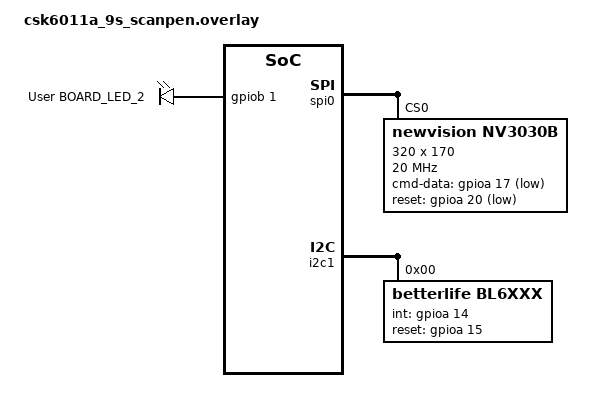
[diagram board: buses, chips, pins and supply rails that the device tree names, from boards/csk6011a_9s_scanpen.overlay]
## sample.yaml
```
sample:
  description: LVGL8 sample application
  name: lvgl8
tests:
  sample.gui.lvgl:
    harness: display
    platform_allow: reel_board mimxrt1050_evk mimxrt1060_evk mimxrt1064_evk
    tags: samples display gui
  sample.display.adafruit_2_8_tft_touch_v2:
    depends_on: arduino_gpio arduino_i2c arduino_spi
    # Default settings end up allocating an ~150KB sized buffer in lvgl.
    # This adds a bit of buffer to that for other data.
    min_ram: 175
    platform_exclude: reel_board reel_board_v2 ubx_evkannab1_nrf52832
    extra_args: SHIELD=adafruit_2_8_tft_touch_v2
    tags: shield
    harness: console
    harness_config:
      fixture: fixture_shield_adafruit_2_8_tft_touch_v2
  sample.display.waveshare_epaper_gdeh0213b1:
    platform_allow: nrf52840dk_nrf52840
    extra_args: SHIELD=waveshare_epaper_gdeh0213b1
    tags: shield
  sample.display.waveshare_epaper_gdeh0213b72:
    platform_allow: nrf52840dk_nrf52840
    extra_args: SHIELD=waveshare_epaper_gdeh0213b72
    tags: shield
  sample.display.waveshare_epaper_gdeh029a1:
    platform_allow: nrf52840dk_nrf52840
    extra_args: SHIELD=waveshare_epaper_gdeh029a1
    tags: shield
  sample.display.lvgl.sdl:
    build_only: true
    platform_allow: native_posix_64
    tags: samples display gui
  sample.display.buydisplay_2_8_tft_touch_arduino:
    platform_allow: nrf52840dk_nrf52840
    extra_args: SHIELD=buydisplay_2_8_tft_touch_arduino
    tags: shield
  sample.display.dummy:
    build_only: true
    platform_allow: native_posix
    extra_configs:
      - CONFIG_DUMMY_DISPLAY=y
      - CONFIG_DUMMY_DISPLAY_DEV_NAME="DISPLAY"
      - CONFIG_KSCAN=n
      - CONFIG_SDL_DISPLAY=n
    tags: samples display gui
```

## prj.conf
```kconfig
CONFIG_HEAP_MEM_POOL_SIZE=16384
CONFIG_MAIN_STACK_SIZE=2048

CONFIG_DISPLAY=y
CONFIG_DISPLAY_LOG_LEVEL_ERR=y

CONFIG_LOG=y
CONFIG_LOG_STRDUP_BUF_COUNT=16

CONFIG_LVGL8=y
CONFIG_LV_USE_LABEL=y
CONFIG_LV_USE_BTN=y


CONFIG_GPIO=y
CONFIG_SPI=y
CONFIG_NV3030B=y
#CONFIG_ST7789V=y

CONFIG_I2C=y
CONFIG_KSCAN_BL6XXX=y
```

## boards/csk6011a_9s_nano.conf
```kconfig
CONFIG_KSCAN=y
CONFIG_LV_Z_POINTER_KSCAN_SWAP_XY=y
CONFIG_LV_Z_POINTER_KSCAN=y
CONFIG_LV_Z_POINTER_KSCAN_DEV_NAME="BL6XXX"

CONFIG_DISPLAY=y
CONFIG_LV_Z_DISPLAY_DEV_NAME="ST7789V"
CONFIG_LV_Z_HOR_RES_MAX=320
CONFIG_LV_Z_VER_RES_MAX=170
CONFIG_LV_DPI_DEF=100
CONFIG_LV_COLOR_DEPTH_16=y
CONFIG_LV_COLOR_16_SWAP=y
```

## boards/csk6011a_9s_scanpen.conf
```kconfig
CONFIG_KSCAN=y
CONFIG_LV_Z_POINTER_KSCAN_SWAP_XY=y
CONFIG_LV_Z_POINTER_KSCAN=y
CONFIG_LV_Z_POINTER_KSCAN_DEV_NAME="BL6XXX"

CONFIG_DISPLAY=y
CONFIG_LV_Z_DISPLAY_DEV_NAME="NV3030B"
#CONFIG_LV_Z_DISPLAY_DEV_NAME="ST7789V"
CONFIG_LV_Z_HOR_RES_MAX=320
CONFIG_LV_Z_VER_RES_MAX=170
CONFIG_LV_DPI_DEF=100
CONFIG_LV_COLOR_DEPTH_16=y
CONFIG_LV_COLOR_16_SWAP=y
```

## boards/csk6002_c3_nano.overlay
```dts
&csk6002_c3_nano_pinctrl{
                pinctrl_i2c0_scl_default: i2c0_scl_default{
                        pinctrls = <&pinmuxa 4 8>;
                };
                
                pinctrl_i2c0_sda_default: i2c0_sda_default{
                        pinctrls = <&pinmuxa 5 8>;
                };    

                pinctrl_spi0_sclk_default: spi0_sclk_default {
                        pinctrls = < &pinmuxa 19 6 >;
                };
                pinctrl_spi0_mosi_default: spi0_mosi_default {
                        pinctrls = < &pinmuxa 18 6 >;
                };
                pinctrl_spi0_miso_default: spi0_miso_default {
                        pinctrls = < &pinmuxa 17 6 >;
                };
                pinctrl_spi0_cs_default: spi0_cs_default {
                        pinctrls = < &pinmuxa 20 6 >;
                }; 
};

&spi0 {
    status = "okay";
    pinctrl-0 = <&pinctrl_spi0_sclk_default &pinctrl_spi0_mosi_default &pinctrl_spi0_miso_default &pinctrl_spi0_cs_default>; 
    pinctrl-names = "default";
    
    display: ili9341@0 {
        compatible = "ilitek,ili9341";
        status = "okay";
        label = "ILI9341";
        reg = <0>;
        display-inversion;
        rotation = <0>;
        pixel-format = <1>;
        reset-gpios = <&gpioa 8 1>;
        cmd-data-gpios = <&gpioa 9 1>;
        spi-max-frequency = <25000000>;
        pwctrla = [ 39 2c 00 34 02  ];
        pwctrlb = [ 00 c1 30  ];
        timctrla = [ 85 00 78  ];
        timctrlb = [ 00 00  ];
        pwseqctrl = [ 64 03 12 81  ];
        pwctrl1 = [ 1d  ];
        pwctrl2 = [ 12  ];
        vmctrl1 = [ 33 3f  ];
        vmctrl2 = [ 92  ];
        frmctr1 = [ 00 12  ];
        disctrl = [ 08 82 27  ];
        enable3g = [ 02  ];
        gamset = [ 01  ];
        pumpratioctrl = [ 10  ];
        pgamctrl = [ 0f 22 1c 1b 08 0f 48 b8 34 05 0c 09 0f 07 00  ];
        ngamctrl = [ 00 23 24 07 10 07 38 47 4b 0A 13 06 30 38 0f  ];
        etmod = [ 06  ];
};
};

&i2c0 {
        status = "okay";
        pinctrl-0 = <&pinctrl_i2c0_scl_default &pinctrl_i2c0_sda_default>; 
        pinctrl-names = "default";
        bl6xxx@0 {
                compatible = "betterlife,bl6xxx";
                reg = <0>;
                label = "BL6XXX";
                status = "okay";
                int-gpios = <&gpioa 16 0>;
                reset-gpios = <&gpioa 15 0>;
        };
};
```

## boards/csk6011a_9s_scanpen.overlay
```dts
/ {

	aliases {
		lcdbacklight0 = &board_led_2;
	};
	leds {
		compatible = "gpio-leds";
		board_led_2: board_led_2 {
				gpios = <&gpiob 1 0>;
				label = "User BOARD_LED_2";
		};
	 };
	
};



&csk6011a_9s_scanpen_pinctrl{
                /* UART alternate function */
                pinctrl_uart0_rx_default: uart0_rx_default{
                        pinctrls = <&pinmuxb 8 2>;
                        // pinctrls = <&pinmuxb 10 2>;

                };
                
                pinctrl_uart0_tx_default: uart0_tx_default{
                        pinctrls = <&pinmuxb 9 2>;
                        // pinctrls = <&pinmuxb 11 2>;

                };
                
                pinctrl_i2c1_scl_default: i2c1_scl_default{
                        pinctrls = <&pinmuxa 13 9>;
                        // pinctrls = <&pinmuxb 2 8>;
                };
                
                pinctrl_i2c1_sda_default: i2c1_sda_default{
                        pinctrls = <&pinmuxa 12 9>;
                        // pinctrls = <&pinmuxb 3 8>;
                };    

                pinctrl_spi0_sclk_default: spi0_sclk_default {
                        pinctrls = < &pinmuxa 19 6 >;
                        // pinctrls = < &pinmuxa 15 6 >;
                };
                pinctrl_spi0_mosi_default: spi0_mosi_default {
                        pinctrls = < &pinmuxa 18 6 >;
                        // pinctrls = < &pinmuxa 10 6 >;
                };
                pinctrl_spi0_miso_default: spi0_miso_default {
                        // pinctrls = < &pinmuxa 17 6 >;
                };
                pinctrl_spi0_cs_default: spi0_cs_default {
                        pinctrls = < &pinmuxa 16 6 >;
                        // pinctrls = < &pinmuxa 12 6 >;
                }; 
};

&spi0 {
        status = "okay";
        pinctrl-0 = <&pinctrl_spi0_sclk_default &pinctrl_spi0_mosi_default &pinctrl_spi0_cs_default>; 
        pinctrl-names = "default";

		//st7789v@0 {
        nv3030b@0 {
				//compatible = "sitronix,st7789v";
                //label = "ST7789V";
				compatible = "newvision,nv3030b";
				label = "NV3030B";
                status = "okay";
                spi-max-frequency = <20000000>;
                reg = <0>;
                cmd-data-gpios = <&gpioa 17 1>;
                // cmd-data-gpios = <&gpioa 14 1>;
                reset-gpios = <&gpioa 20 1>;
                // reset-gpios = <&gpiob 6 1>;
                width = <320>;
                height = <170>;
                x-offset = <0>;
                y-offset = <35>;
                // reg:0xBB
                vcom = <0x1e>;
                // reg:0xB7
                gctrl = <0x35>;
                // reg:0xC3
                vrhs = <0x0b>;
                // reg:0xC4
                vdvs = <0x20>;
                // reg:0x36
                mdac = <0xA3>;
                // reg:0x26
                gamma = <0x01>;
                // reg:0x3a
                colmod = <0x05>;
                // reg:0xc0
                lcm = <0x2c>;
                // reg:0xb2
                porch-param = [0c 0c 00 33 33];
                // reg:0xDF
                cmd2en-param = [5a 69 02 01];
                // reg:0xD0
                pwctrl1-param = [a4 a1];
                // reg:0xE0
                pvgam-param = [d0 06 0b 07 07 24 2e 32 46 37 13 13 2d 33];
                // reg:0xE1
                nvgam-param = [d0 02 06 09 08 05 29 44 42 38 14 14 2a 30];
                // reg:b0
                ram-param = [00 F0];
                // reg:b1
                rgb-param = [CD 08 14];
        };
};

&i2c1 {
        status = "okay";
        pinctrl-0 = <&pinctrl_i2c1_scl_default &pinctrl_i2c1_sda_default>; 
        pinctrl-names = "default";
        bl6xxx@0 {
                compatible = "betterlife,bl6xxx";
                reg = <0>;
                label = "BL6XXX";
                status = "okay";
                int-gpios = <&gpioa 14 0>;
                reset-gpios = <&gpioa 15 0>;
                // int-gpios = <&gpioa 3 0>;
                // reset-gpios = <&gpioa 2 0>;
        };
};
```

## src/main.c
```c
/*
 * Copyright (c) 2018 Jan Van Winkel <jan.van_winkel@dxplore.eu>
 *
 * SPDX-License-Identifier: Apache-2.0
 */

#include <device.h>
#include <drivers/display.h>
#include <lvgl.h>
#include <stdio.h>
#include <string.h>
#include <zephyr.h>
#include <drivers/pwm.h>
#include <drivers/pinmux.h>
#include <drivers/gpio.h>


#define LOG_LEVEL CONFIG_LOG_DEFAULT_LEVEL
#include <logging/log.h>
LOG_MODULE_REGISTER(app);

extern lv_font_t arial_40;
/* The devicetree node identifier for the "LCD0" alias. */
#define LCD0_NODE DT_ALIAS(lcdbacklight0)

#if DT_NODE_HAS_STATUS(LCD0_NODE, okay)
#define LCD0	DT_GPIO_LABEL(LCD0_NODE, gpios)
#define PIN	DT_GPIO_PIN(LCD0_NODE, gpios)
#define FLAGS	DT_GPIO_FLAGS(LCD0_NODE, gpios)
#else
/* A build error here means your board isn't set up to blink an LCD Backlight. */
#error "Unsupported board: LCD0 devicetree alias is not defined"
#define LCD0	""
#define PIN	0
#define FLAGS	0
#endif

int lvgl_init(const struct device *dev);

void lcd_blanking_on()
{
	const struct device *dev;
	bool lcd_is_on = true;
	int ret;

	dev = device_get_binding(LCD0);
	if (dev == NULL) {
		return;
	}

	ret = gpio_pin_configure(dev, PIN, GPIO_OUTPUT_ACTIVE | FLAGS);
	if (ret < 0) {
		return;
	}
	// LCD背光低電平有效
	gpio_pin_set(dev, PIN, !(int)lcd_is_on);
}
void main(void)
{
	uint32_t count = 0U;
	char count_str[11] = {0};
	const struct device *display_dev;
	lv_obj_t *hello_world_label;
	lv_obj_t *count_label;

	#if DT_NODE_HAS_STATUS(LCD0_NODE, okay)
	lcd_blanking_on();
	#endif

	lvgl_init(NULL);

	display_dev = device_get_binding(CONFIG_LV_Z_DISPLAY_DEV_NAME);
	if (display_dev == NULL) {
		LOG_ERR("Device not ready, aborting test");
		return;
	}

	if (IS_ENABLED(CONFIG_LV_Z_POINTER_KSCAN)) {
		lv_obj_t *hello_world_button;

		hello_world_button = lv_btn_create(lv_scr_act());
		lv_obj_align(hello_world_button, LV_ALIGN_CENTER, 0, 0);
		hello_world_label = lv_label_create(hello_world_button);
	} else {
		hello_world_label = lv_label_create(lv_scr_act());
	}
	lv_obj_set_style_text_font(hello_world_label,&arial_40,0);
	lv_label_set_text(hello_world_label, "翻译");
	lv_obj_align(hello_world_label, LV_ALIGN_CENTER, 0, 0);

	count_label = lv_label_create(lv_scr_act());
	lv_obj_align(count_label, LV_ALIGN_BOTTOM_MID, 0, 0);

	lv_task_handler();
	display_blanking_off(display_dev);

	while (1) {
		if ((count % 100) == 0U) {
			sprintf(count_str, "%d", count/100U);
			lv_label_set_text(count_label, count_str);
		}
		lv_task_handler();
		k_sleep(K_MSEC(10));
		++count;
	}
}
```

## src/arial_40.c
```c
/*******************************************************************************
 * Size: 10 px
 * Bpp: 1
 * Opts: 
 ******************************************************************************/
#define LV_LVGL_H_INCLUDE_SIMPLE

#ifdef LV_LVGL_H_INCLUDE_SIMPLE
#include "lvgl.h"
#else
#include "lvgl/lvgl.h"
#endif

#ifndef ARIAL_40
#define ARIAL_40 1
#endif

#if ARIAL_40

/*-----------------
 *    BITMAPS
 *----------------*/

/*Store the image of the glyphs*/
static LV_ATTRIBUTE_LARGE_CONST const uint8_t glyph_bitmap[] = {
    /* U+0030 "0" */
    0x74, 0x63, 0x18, 0xc5, 0xc0,

    /* U+0031 "1" */
    0x3c, 0x92, 0x48,

    /* U+0032 "2" */
    0x74, 0x62, 0x22, 0x23, 0xe0,

    /* U+0033 "3" */
    0x74, 0x42, 0x60, 0xc5, 0xc0,

    /* U+0034 "4" */
    0x8, 0x62, 0x9a, 0x4b, 0xf0, 0x80,

    /* U+0035 "5" */
    0xfc, 0x3d, 0x10, 0xc5, 0xc0,

    /* U+0036 "6" */
    0x74, 0x7d, 0x18, 0xc5, 0xc0,

    /* U+0037 "7" */
    0xf8, 0x44, 0x23, 0x10, 0x80,

    /* U+0038 "8" */
    0x74, 0x62, 0xe8, 0xc5, 0xc0,

    /* U+0039 "9" */
    0x74, 0x63, 0x17, 0xc5, 0xc0,

    /* U+003A ":" */
    0x88,

    /* U+0061 "a" */
    0x74, 0x5f, 0x1f, 0x80,

    /* U+0062 "b" */
    0x84, 0x3d, 0x18, 0xc7, 0xc0,

    /* U+0063 "c" */
    0x74, 0x61, 0x17, 0x0,

    /* U+0064 "d" */
    0x8, 0x5f, 0x18, 0xc5, 0xe0,

    /* U+0065 "e" */
    0x74, 0x7f, 0x17, 0x0,

    /* U+0066 "f" */
    0x6b, 0xa4, 0x90,

    /* U+0067 "g" */
    0x7c, 0x63, 0x17, 0xc5, 0xc0,

    /* U+0068 "h" */
    0x84, 0x3d, 0x18, 0xc6, 0x20,

    /* U+0069 "i" */
    0xbe,

    /* U+006A "j" */
    0x45, 0x55, 0xc0,

    /* U+006B "k" */
    0x84, 0x25, 0x4e, 0x5a, 0x40,

    /* U+006C "l" */
    0xfe,

    /* U+006D "m" */
    0xef, 0x26, 0x4c, 0x99, 0x20,

    /* U+006E "n" */
    0xf4, 0x63, 0x18, 0x80,

    /* U+006F "o" */
    0x74, 0x63, 0x17, 0x0,

    /* U+0070 "p" */
    0xf4, 0x63, 0x1f, 0x42, 0x0,

    /* U+0071 "q" */
    0x7c, 0x63, 0x17, 0x84, 0x20,

    /* U+0072 "r" */
    0xf2, 0x48,

    /* U+0073 "s" */
    0x72, 0x4d, 0x97, 0x80,

    /* U+0074 "t" */
    0xb, 0xa4, 0x98,

    /* U+0075 "u" */
    0x8c, 0x63, 0x17, 0x80,

    /* U+0076 "v" */
    0x8a, 0x94, 0xa2, 0x0,

    /* U+0077 "w" */
    0x93, 0x5a, 0x5a, 0x64, 0x24,

    /* U+0078 "x" */
    0x5b, 0x88, 0xac, 0x80,

    /* U+0079 "y" */
    0x8a, 0xd4, 0xe2, 0x11, 0x80,

    /* U+007A "z" */
    0xf8, 0x88, 0x8f, 0x80,

    /* U+539F "原" */
    0x7f, 0xa2, 0x17, 0xea, 0x15, 0xfa, 0xfd, 0x54,
    0xa9, 0x8c, 0x0,

    /* U+6587 "文" */
    0x0, 0x4, 0x3f, 0xe4, 0x42, 0x20, 0xa0, 0x30,
    0x38, 0x63, 0x40, 0x40,

    /* U+7FFB "翻" */
    0xed, 0xea, 0x7f, 0xb9, 0xb8, 0x4f, 0xef, 0xd3,
    0xa9, 0xfd, 0x80,

    /* U+8BD1 "译" */
    0xdf, 0x24, 0x83, 0x9b, 0xf4, 0x42, 0x79, 0xfe,
    0x88, 0x4, 0x0
};


/*---------------------
 *  GLYPH DESCRIPTION
 *--------------------*/

static const lv_font_fmt_txt_glyph_dsc_t glyph_dsc[] = {
    {.bitmap_index = 0, .adv_w = 0, .box_w = 0, .box_h = 0, .ofs_x = 0, .ofs_y = 0} /* id = 0 reserved */,
    {.bitmap_index = 0, .adv_w = 96, .box_w = 5, .box_h = 7, .ofs_x = 1, .ofs_y = 0},
    {.bitmap_index = 5, .adv_w = 96, .box_w = 3, .box_h = 7, .ofs_x = 1, .ofs_y = 0},
    {.bitmap_index = 8, .adv_w = 96, .box_w = 5, .box_h = 7, .ofs_x = 1, .ofs_y = 0},
    {.bitmap_index = 13, .adv_w = 96, .box_w = 5, .box_h = 7, .ofs_x = 0, .ofs_y = 0},
    {.bitmap_index = 18, .adv_w = 96, .box_w = 6, .box_h = 7, .ofs_x = 0, .ofs_y = 0},
    {.bitmap_index = 24, .adv_w = 96, .box_w = 5, .box_h = 7, .ofs_x = 0, .ofs_y = 0},
    {.bitmap_index = 29, .adv_w = 96, .box_w = 5, .box_h = 7, .ofs_x = 1, .ofs_y = 0},
    {.bitmap_index = 34, .adv_w = 96, .box_w = 5, .box_h = 7, .ofs_x = 0, .ofs_y = 0},
    {.bitmap_index = 39, .adv_w = 96, .box_w = 5, .box_h = 7, .ofs_x = 1, .ofs_y = 0},
    {.bitmap_index = 44, .adv_w = 96, .box_w = 5, .box_h = 7, .ofs_x = 1, .ofs_y = 0},
    {.bitmap_index = 49, .adv_w = 44, .box_w = 1, .box_h = 5, .ofs_x = 1, .ofs_y = 0},
    {.bitmap_index = 50, .adv_w = 91, .box_w = 5, .box_h = 5, .ofs_x = 1, .ofs_y = 0},
    {.bitmap_index = 54, .adv_w = 96, .box_w = 5, .box_h = 7, .ofs_x = 1, .ofs_y = 0},
    {.bitmap_index = 59, .adv_w = 89, .box_w = 5, .box_h = 5, .ofs_x = 1, .ofs_y = 0},
    {.bitmap_index = 63, .adv_w = 96, .box_w = 5, .box_h = 7, .ofs_x = 1, .ofs_y = 0},
    {.bitmap_index = 68, .adv_w = 90, .box_w = 5, .box_h = 5, .ofs_x = 1, .ofs_y = 0},
    {.bitmap_index = 72, .adv_w = 60, .box_w = 3, .box_h = 7, .ofs_x = 0, .ofs_y = 0},
    {.bitmap_index = 75, .adv_w = 96, .box_w = 5, .box_h = 7, .ofs_x = 1, .ofs_y = -2},
    {.bitmap_index = 80, .adv_w = 92, .box_w = 5, .box_h = 7, .ofs_x = 1, .ofs_y = 0},
    {.bitmap_index = 85, .adv_w = 43, .box_w = 1, .box_h = 7, .ofs_x = 1, .ofs_y = 0},
    {.bitmap_index = 86, .adv_w = 44, .box_w = 2, .box_h = 9, .ofs_x = 0, .ofs_y = -2},
    {.bitmap_index = 89, .adv_w = 88, .box_w = 5, .box_h = 7, .ofs_x = 1, .ofs_y = 0},
    {.bitmap_index = 94, .adv_w = 40, .box_w = 1, .box_h = 7, .ofs_x = 1, .ofs_y = 0},
    {.bitmap_index = 95, .adv_w = 140, .box_w = 7, .box_h = 5, .ofs_x = 1, .ofs_y = 0},
    {.bitmap_index = 100, .adv_w = 92, .box_w = 5, .box_h = 5, .ofs_x = 1, .ofs_y = 0},
    {.bitmap_index = 104, .adv_w = 96, .box_w = 5, .box_h = 5, .ofs_x = 1, .ofs_y = 0},
    {.bitmap_index = 108, .adv_w = 96, .box_w = 5, .box_h = 7, .ofs_x = 1, .ofs_y = -2},
    {.bitmap_index = 113, .adv_w = 96, .box_w = 5, .box_h = 7, .ofs_x = 1, .ofs_y = -2},
    {.bitmap_index = 118, .adv_w = 60, .box_w = 3, .box_h = 5, .ofs_x = 1, .ofs_y = 0},
    {.bitmap_index = 120, .adv_w = 83, .box_w = 5, .box_h = 5, .ofs_x = 0, .ofs_y = 0},
    {.bitmap_index = 124, .adv_w = 58, .box_w = 3, .box_h = 7, .ofs_x = 0, .ofs_y = 0},
    {.bitmap_index = 127, .adv_w = 92, .box_w = 5, .box_h = 5, .ofs_x = 1, .ofs_y = 0},
    {.bitmap_index = 131, .adv_w = 80, .box_w = 5, .box_h = 5, .ofs_x = 0, .ofs_y = 0},
    {.bitmap_index = 135, .adv_w = 124, .box_w = 8, .box_h = 5, .ofs_x = 0, .ofs_y = 0},
    {.bitmap_index = 140, .adv_w = 85, .box_w = 5, .box_h = 5, .ofs_x = 0, .ofs_y = 0},
    {.bitmap_index = 144, .adv_w = 83, .box_w = 5, .box_h = 7, .ofs_x = 0, .ofs_y = -2},
    {.bitmap_index = 149, .adv_w = 80, .box_w = 5, .box_h = 5, .ofs_x = 1, .ofs_y = 0},
    {.bitmap_index = 153, .adv_w = 160, .box_w = 9, .box_h = 9, .ofs_x = 0, .ofs_y = -1},
    {.bitmap_index = 164, .adv_w = 160, .box_w = 9, .box_h = 10, .ofs_x = 0, .ofs_y = -1},
    {.bitmap_index = 176, .adv_w = 160, .box_w = 9, .box_h = 9, .ofs_x = 1, .ofs_y = -1},
    {.bitmap_index = 187, .adv_w = 160, .box_w = 9, .box_h = 9, .ofs_x = 1, .ofs_y = -1}
};

/*---------------------
 *  CHARACTER MAPPING
 *--------------------*/

static const uint16_t unicode_list_2[] = {
    0x0, 0x11e8, 0x2c5c, 0x3832
};

/*Collect the unicode lists and glyph_id offsets*/
static const lv_font_fmt_txt_cmap_t cmaps[] =
{
    {
        .range_start = 48, .range_length = 11, .glyph_id_start = 1,
        .unicode_list = NULL, .glyph_id_ofs_list = NULL, .list_length = 0, .type = LV_FONT_FMT_TXT_CMAP_FORMAT0_TINY
    },
    {
        .range_start = 97, .range_length = 26, .glyph_id_start = 12,
        .unicode_list = NULL, .glyph_id_ofs_list = NULL, .list_length = 0, .type = LV_FONT_FMT_TXT_CMAP_FORMAT0_TINY
    },
    {
        .range_start = 21407, .range_length = 14387, .glyph_id_start = 38,
        .unicode_list = unicode_list_2, .glyph_id_ofs_list = NULL, .list_length = 4, .type = LV_FONT_FMT_TXT_CMAP_SPARSE_TINY
    }
};



/*--------------------
 *  ALL CUSTOM DATA
 *--------------------*/

#if LV_VERSION_CHECK(8, 0, 0)
/*Store all the custom data of the font*/
static  lv_font_fmt_txt_glyph_cache_t cache;
static const lv_font_fmt_txt_dsc_t font_dsc = {
#else
static lv_font_fmt_txt_dsc_t font_dsc = {
#endif
    .glyph_bitmap = glyph_bitmap,
    .glyph_dsc = glyph_dsc,
    .cmaps = cmaps,
    .kern_dsc = NULL,
    .kern_scale = 0,
    .cmap_num = 3,
    .bpp = 1,
    .kern_classes = 0,
    .bitmap_format = 0,
#if LV_VERSION_CHECK(8, 0, 0)
    .cache = &cache
#endif
};


/*-----------------
 *  PUBLIC FONT
 *----------------*/

/*Initialize a public general font descriptor*/
#if LV_VERSION_CHECK(8, 0, 0)
const lv_font_t arial_40 = {
#else
lv_font_t arial_40 = {
#endif
    .get_glyph_dsc = lv_font_get_glyph_dsc_fmt_txt,    /*Function pointer to get glyph's data*/
    .get_glyph_bitmap = lv_font_get_bitmap_fmt_txt,    /*Function pointer to get glyph's bitmap*/
    .line_height = 11,          /*The maximum line height required by the font*/
    .base_line = 2,             /*Baseline measured from the bottom of the line*/
#if !(LVGL_VERSION_MAJOR == 6 && LVGL_VERSION_MINOR == 0)
    .subpx = LV_FONT_SUBPX_NONE,
#endif
#if LV_VERSION_CHECK(7, 4, 0) || LVGL_VERSION_MAJOR >= 8
    .underline_position = -1,
    .underline_thickness = 1,
#endif
    .dsc = &font_dsc           /*The custom font data. Will be accessed by `get_glyph_bitmap/dsc` */
};



#endif /*#if ARIAL_40*/
```
